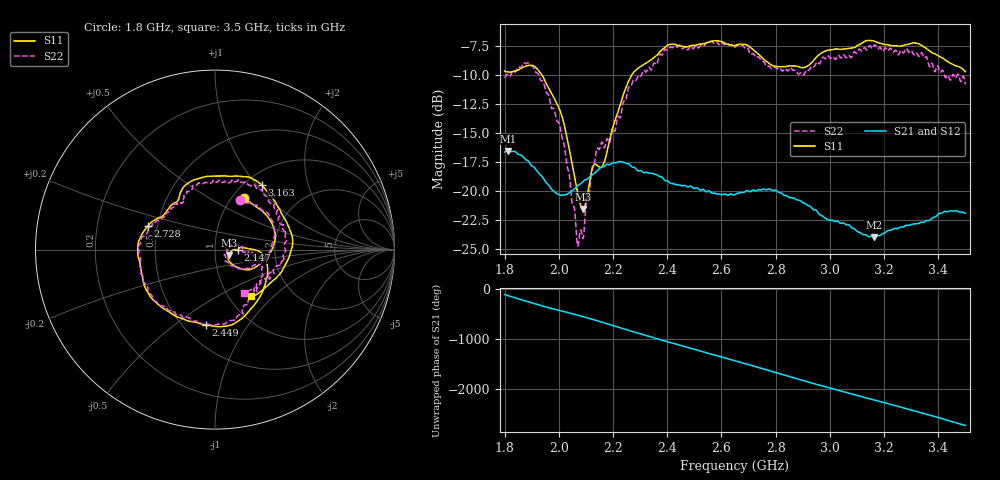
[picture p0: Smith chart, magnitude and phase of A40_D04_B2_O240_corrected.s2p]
! Created with skrf 1.9.0 (http://scikit-rf.org).
# Hz S RI R 50.0
!freq ReS11 ImS11 ReS21 ImS21 ReS12 ImS12 ReS22 ImS22
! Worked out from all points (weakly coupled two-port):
!   1601 points, 1.8 GHz to 3.5 GHz, reference 50 ohm
!   highest |S21| = -16.54 dB at 1.812 GHz (marker M1); lowest = -24.0 dB at 3.162 GHz (marker M2)
!   lowest |S11| = -21.6 dB at 2.09 GHz (marker M3), VSWR 1.18, Z = 58.4 - j3.53 ohm
!   |S11| at or under -10 dB: 1.938 GHz to 2.269 GHz (330.5 MHz wide, 15.7 % of centre)
!   |S22| runs from -24.8 to -7.1 dB; largest |S21 - S12| = 0.0024
!   S11 on the Smith chart (normalised r, x): 1.8 GHz: 1.14, +0.73; 2.147 GHz: 1.29, -0.00; 2.449 GHz: 0.64, -0.66; 2.728 GHz: 0.44, +0.14; 3.163 GHz: 1.18, +1.06; 3.5 GHz: 1.26, -0.73
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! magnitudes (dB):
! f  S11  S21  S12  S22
! 1.8 GHz  -9.6  -16.6  -16.6  -10.2
! 1.812 GHz  -9.7  -16.5  -16.5  -10.0
! 1.882 GHz  -9.2  -17.3  -17.3  -9.0
! 1.942 GHz  -10.2  -18.9  -18.9  -10.6
! 2.011 GHz  -13.5  -20.4  -20.3  -15.4
! 2.068 GHz  -20.0  -19.6  -19.6  -24.5
! 2.084 GHz  -21.4  -19.3  -19.3  -23.5
! 2.09 GHz  -21.6  -19.2  -19.2  -24.1
! 2.125 GHz  -18.0  -18.6  -18.6  -17.8
! 2.147 GHz  -17.9  -18.1  -18.1  -16.4
! 2.189 GHz  -15.5  -17.7  -17.7  -15.7
! 2.264 GHz  -10.2  -17.8  -17.8  -11.0
! 2.367 GHz  -8.1  -18.7  -18.6  -8.5
! 2.449 GHz  -7.5  -19.5  -19.5  -7.5
! 2.65 GHz  -7.4  -20.3  -20.3  -7.6
! 2.728 GHz  -8.0  -20.0  -20.0  -8.5
! 2.934 GHz  -8.9  -21.5  -21.5  -9.2
! 3.162 GHz  -7.0  -24.0  -23.9  -7.5
! 3.163 GHz  -7.0  -24.0  -23.9  -7.4
! 3.217 GHz  -7.4  -23.4  -23.4  -7.8
! 3.326 GHz  -7.3  -22.8  -22.8  -8.3
! 3.5 GHz  -9.7  -21.9  -21.9  -10.8
